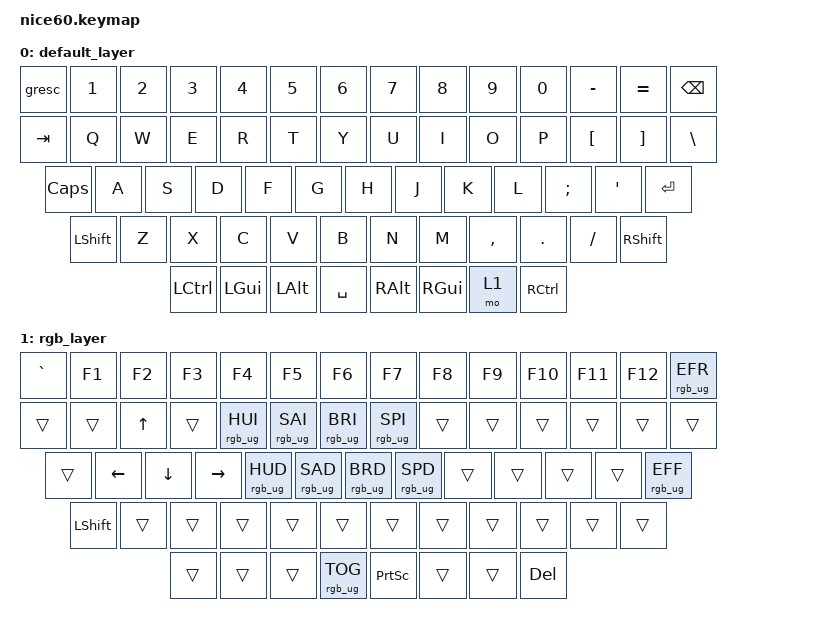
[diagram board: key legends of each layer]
/*
 * Copyright (c) 2021 Nick Winans
 *
 * SPDX-License-Identifier: MIT
 */

#include <behaviors.dtsi>
#include <dt-bindings/zmk/keys.h>
#include <dt-bindings/zmk/rgb.h>
#include <dt-bindings/zmk/bt.h>
#include <dt-bindings/zmk/outputs.h>
#include <dt-bindings/zmk/reset.h>
#include <dt-bindings/zmk/ext_power.h>

/ {
	combos {
	        compatible = "zmk,combos";
	        combo_esc {
	            timeout-ms = <50>;
	            key-positions = <59 41 29>;
	            bindings = <&accent_a_macro>;
	        };
	};
	macros {
	        accent_a_macro: accent_a_macro {
	            compatible = "zmk,behavior-macro";
	            label = "new_macro";
	            #binding-cells = <0>;
	            bindings =
	                <&macro_press>,
	                <&kp RALT &kp RSHFT>,
	                <&macro_tap>,
	                <&kp KP_N0 &kp KP_N2 &kp KP_N2 &kp KP_N5>,
	                <&macro_release>,
	                <&kp RSHFT &kp RALT>;
	        };
	};
	keymap {
		compatible = "zmk,keymap";
		
		default_layer {
// ------------------------------------------------------------------------------------------
// | ESC |  1  |  2  |  3  |  4  |  5  |  6  |  7  |  8  |  9  |  0  |  -  |  =  |   BKSP   |
// | TAB  |  Q  |  W  |  E  |  R  |  T  |  Y  |  U  |  I  |  O  |  P  |  [  |  ]  |   "|"   |
// | CAPS  |  A  |  S  |  D  |  F  |  G  |  H  |  J  |  K  |  L  |  ;  |  '  |     ENTER    |
// |  SHIFT  |  Z  |  X  |  C  |  V  |  B  |  N  |  M  |  ,  |  .  |  /  |      SHIFT       |
// |  CTL  |  WIN  |  ALT  |            SPACE              |  ALT  |  WIN  |  MO(1) |  CTL  |
// ------------------------------------------------------------------------------------------
			bindings = <
	&gresc  &kp N1 &kp N2 &kp N3 &kp N4 &kp N5 &kp N6 &kp N7 &kp N8 &kp N9 &kp N0 &kp MINUS &kp EQUAL  &kp BSPC
	&kp TAB  &kp Q  &kp W  &kp E  &kp R  &kp T  &kp Y  &kp U  &kp I  &kp O  &kp P  &kp LBKT  &kp RBKT  &kp BSLH
	&kp CLCK  &kp A  &kp S  &kp D  &kp F  &kp G  &kp H  &kp J  &kp K  &kp L  &kp SEMI &kp SQT           &kp RET
	&kp LSHFT   &kp Z  &kp X  &kp C  &kp V  &kp B  &kp N  &kp M  &kp COMMA &kp DOT &kp FSLH           &kp RSHFT
	&kp LCTRL &kp LGUI &kp LALT             &kp SPACE                     &kp RALT  &kp RGUI  &mo 1   &kp RCTRL
			>;
		};

		rgb_layer {
// ------------------------------------------------------------------------------------------------
//starts 0 | GRAVE   | F1  | F2  | F3  | F4  | F5  | F6  | F7  | F8  | F9  | F10  | F11 | F12 | EFFECT REV |
//starts 14 |  BT 1   |   |  UP |   | HUEUP | SATUP | BRIUP | SPDUP |   |     |    |     |     |           |
//starts 28 |   BT 2   | LT or  |  DN  | RT | HUEDN | SATDN | BRIDN | SPDDN |   |     |   |     |  EFFECT FORW |
//starts 41 |    SHIFT     |     |      |      |     |     |     |     |     |     |     |                  |
//starts 53 |   BT 4  |      |      |             TOG RGB                | PRT SCR |       |       |  DEL  |
// ------------------------------------------------------------------------------------------------
			bindings = <
	&kp GRAVE     &kp F1    &kp F2    &kp F3  &kp F4           &kp F5          &kp F6          &kp F7          &kp F8   &kp F9   &kp F10  &kp F11 &kp F12  &rgb_ug RGB_EFR
	&trans  &trans    &kp UP    &trans  &rgb_ug RGB_HUI  &rgb_ug RGB_SAI &rgb_ug RGB_BRI &rgb_ug RGB_SPI  &trans   &trans   &trans   &trans  &trans          &trans 
	&trans   &kp LEFT  &kp DOWN  &kp RIGHT &rgb_ug RGB_HUD &rgb_ug RGB_SAD &rgb_ug RGB_BRD &rgb_ug RGB_SPD &trans   &trans   &trans   &trans        &rgb_ug RGB_EFF
	&kp LSHFT       &trans    &trans    &trans   &trans          &trans          &trans          &trans          &trans   &trans   &trans                          &trans
	&trans  &trans   &trans                            &rgb_ug RGB_TOG                                      &kp PSCRN      &trans      &trans               &kp DEL
			>;
		};
	};
};
